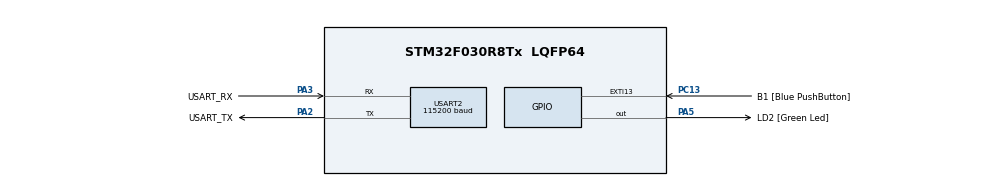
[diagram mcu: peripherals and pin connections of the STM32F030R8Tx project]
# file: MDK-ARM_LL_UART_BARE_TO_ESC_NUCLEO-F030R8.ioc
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Mcu.Family=STM32F0
Mcu.Name=STM32F030R8Tx
Mcu.Package=LQFP64
NVIC.USART2_IRQn=true\:0\:0\:false\:false\:true\:true\:true
PA13.GPIO_Label=TMS
PA13.Mode=Serial_Wire
PA13.Signal=SYS_SWDIO
PA14.GPIO_Label=TCK
PA14.Mode=Serial_Wire
PA14.Signal=SYS_SWCLK
PA2.GPIO_Label=USART_TX
PA2.GPIO_Mode=GPIO_MODE_AF_PP
PA2.GPIO_PuPd=GPIO_NOPULL
PA2.GPIO_Speed=GPIO_SPEED_FREQ_LOW
PA2.Mode=Asynchronous
PA2.Signal=USART2_TX
PA3.GPIO_Label=USART_RX
PA3.GPIO_Mode=GPIO_MODE_AF_PP
PA3.GPIO_PuPd=GPIO_NOPULL
PA3.GPIO_Speed=GPIO_SPEED_FREQ_LOW
PA3.Mode=Asynchronous
PA3.Signal=USART2_RX
PA5.GPIO_Label=LD2 [Green Led]
PA5.GPIO_Mode=GPIO_MODE_OUTPUT_PP
PA5.GPIO_PuPd=GPIO_NOPULL
PA5.GPIO_Speed=GPIO_SPEED_FREQ_LOW
PA5.Signal=GPIO_Output
PC13.GPIO_Label=B1 [Blue PushButton]
PC13.GPIO_ModeDefaultEXTI=GPIO_MODE_IT_FALLING
PC13.Signal=GPXTI13
PC14-OSC32_IN.Mode=LSE-External-Oscillator
PC14-OSC32_IN.Signal=RCC_OSC32_IN
PC15-OSC32_OUT.Mode=LSE-External-Oscillator
PC15-OSC32_OUT.Signal=RCC_OSC32_OUT
PF0-OSC_IN.Mode=HSE-External-Clock-Source
PF0-OSC_IN.Signal=RCC_OSC_IN
PF1-OSC_OUT.Signal=RCC_OSC_OUT
ProjectManager.HeapSize=0x200
ProjectManager.StackSize=0x400
ProjectManager.TargetToolchain=MDK-ARM V5.27
RCC.AHBFreq_Value=48000000
RCC.APB1Freq_Value=48000000
RCC.APB1TimFreq_Value=48000000
RCC.HCLKFreq_Value=48000000
RCC.PLLMUL=RCC_PLL_MUL12
RCC.SYSCLKFreq_VALUE=48000000
RCC.SYSCLKSource=RCC_SYSCLKSOURCE_PLLCLK
USART2.BaudRate=115200
USART2.VirtualMode-Asynchronous=VM_ASYNC
board=NUCLEO-F030R8

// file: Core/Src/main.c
/* USER CODE BEGIN Header */
/**
  ******************************************************************************
  * @file           : main.c
  * @brief          : Main program body
  ******************************************************************************
  * @attention
  *
  * <h2><center>&copy; Copyright (c) 2020 STMicroelectronics.
  * All rights reserved.</center></h2>
  *
  * This software component is licensed by ST under BSD 3-Clause license,
  * the "License"; You may not use this file except in compliance with the
  * License. You may obtain a copy of the License at:
  *                        opensource.org/licenses/BSD-3-Clause
  *
  ******************************************************************************
  */
/* USER CODE END Header */
#include "main.h"

/* USER CODE BEGIN Includes */
#include "trice.h"
#include "triceInterfaceUART.h"
#include "triceBareFifo.h"
#include "triceBareFifoToEscFifo.h"
/* USER CODE END Includes */

/* USER CODE BEGIN PV */
int milliSecond = 0;
/* USER CODE END PV */

void SystemClock_Config(void);
static void MX_GPIO_Init(void);
static void MX_USART2_UART_Init(void);

int main(void)
{
  /* USER CODE BEGIN 1 */
#ifdef ENCRYPT
    InitXteaTable();
#endif
  /* USER CODE END 1 */

  /* MCU Configuration--------------------------------------------------------*/

  /* Reset of all peripherals, Initializes the Flash interface and the Systick. */

  LL_APB1_GRP2_EnableClock(LL_APB1_GRP2_PERIPH_SYSCFG);
  LL_APB1_GRP1_EnableClock(LL_APB1_GRP1_PERIPH_PWR);

  /* System interrupt init*/

  /* Configure the system clock */
  SystemClock_Config();

  /* USER CODE BEGIN SysInit */
    SysTick->CTRL |= SysTick_CTRL_TICKINT_Msk; // enable SysTick interrupt
  /* USER CODE END SysInit */

  /* Initialize all configured peripherals */
  MX_GPIO_Init();
  MX_USART2_UART_Init();
  /* USER CODE BEGIN 2 */
  LL_USART_EnableIT_RXNE(TRICE_UART); // enable UART2 interrupt
    TRICE0( Id(37259), "s:                                        \ns:   ARM-MDK_LL_UART_BARE_TO_ESC_NUCLEO-F030R8   \ns:                                        \n\n");
  /* USER CODE END 2 */

  /* Infinite loop */
  /* USER CODE BEGIN WHILE */
  while (1)
  {
        static int lastTricesTime = 0;
      { // every few milliseconds
            if( milliSecond >= lastTricesTime + 1000 ){
                static int index = 0;
                TRICE16_2( Id(38143),"MSG: triceFifoMaxDepth: Bare = %d, Esc = %d\n", triceBareFifoMaxDepth, triceEscFifoMaxDepth );
                triceCheckSet(index%10);
                index++;
                lastTricesTime = milliSecond;
          }
      }
    /* USER CODE END WHILE */

    /* USER CODE BEGIN 3 */
        { // check every few milliseconds
            static int lastMs = 0;
            if( milliSecond >= lastMs + 1 ){
                lastMs = milliSecond;
                triceServeBareFifoToEscFifo();
            }
        }
  }
  /* USER CODE END 3 */
}

void SystemClock_Config(void)
{
  LL_FLASH_SetLatency(LL_FLASH_LATENCY_1);
  while(LL_FLASH_GetLatency() != LL_FLASH_LATENCY_1)
  {
  }
  LL_RCC_HSI_Enable();

   /* Wait till HSI is ready */
  while(LL_RCC_HSI_IsReady() != 1)
  {

  }
  LL_RCC_HSI_SetCalibTrimming(16);
  LL_RCC_PLL_ConfigDomain_SYS(LL_RCC_PLLSOURCE_HSI_DIV_2, LL_RCC_PLL_MUL_12);
  LL_RCC_PLL_Enable();

   /* Wait till PLL is ready */
  while(LL_RCC_PLL_IsReady() != 1)
  {

  }
  LL_RCC_SetAHBPrescaler(LL_RCC_SYSCLK_DIV_1);
  LL_RCC_SetAPB1Prescaler(LL_RCC_APB1_DIV_1);
  LL_RCC_SetSysClkSource(LL_RCC_SYS_CLKSOURCE_PLL);

   /* Wait till System clock is ready */
  while(LL_RCC_GetSysClkSource() != LL_RCC_SYS_CLKSOURCE_STATUS_PLL)
  {

  }
  LL_Init1msTick(48000000);
  LL_SetSystemCoreClock(48000000);
}

static void MX_USART2_UART_Init(void)
{

  LL_USART_InitTypeDef USART_InitStruct = {0};

  LL_GPIO_InitTypeDef GPIO_InitStruct = {0};

  /* Peripheral clock enable */
  LL_APB1_GRP1_EnableClock(LL_APB1_GRP1_PERIPH_USART2);

  LL_AHB1_GRP1_EnableClock(LL_AHB1_GRP1_PERIPH_GPIOA);
  /**USART2 GPIO Configuration
  PA2   ------> USART2_TX
  PA3   ------> USART2_RX
  */
  GPIO_InitStruct.Pin = USART_TX_Pin;
  GPIO_InitStruct.Mode = LL_GPIO_MODE_ALTERNATE;
  GPIO_InitStruct.Speed = LL_GPIO_SPEED_FREQ_LOW;
  GPIO_InitStruct.OutputType = LL_GPIO_OUTPUT_PUSHPULL;
  GPIO_InitStruct.Pull = LL_GPIO_PULL_NO;
  GPIO_InitStruct.Alternate = LL_GPIO_AF_1;
  LL_GPIO_Init(USART_TX_GPIO_Port, &GPIO_InitStruct);

  GPIO_InitStruct.Pin = USART_RX_Pin;
  GPIO_InitStruct.Mode = LL_GPIO_MODE_ALTERNATE;
  GPIO_InitStruct.Speed = LL_GPIO_SPEED_FREQ_LOW;
  GPIO_InitStruct.OutputType = LL_GPIO_OUTPUT_PUSHPULL;
  GPIO_InitStruct.Pull = LL_GPIO_PULL_NO;
  GPIO_InitStruct.Alternate = LL_GPIO_AF_1;
  LL_GPIO_Init(USART_RX_GPIO_Port, &GPIO_InitStruct);

  /* USART2 interrupt Init */
  NVIC_SetPriority(USART2_IRQn, 0);
  NVIC_EnableIRQ(USART2_IRQn);

  USART_InitStruct.BaudRate = 115200;
  USART_InitStruct.DataWidth = LL_USART_DATAWIDTH_8B;
  USART_InitStruct.StopBits = LL_USART_STOPBITS_1;
  USART_InitStruct.Parity = LL_USART_PARITY_NONE;
  USART_InitStruct.TransferDirection = LL_USART_DIRECTION_TX_RX;
  USART_InitStruct.HardwareFlowControl = LL_USART_HWCONTROL_NONE;
  USART_InitStruct.OverSampling = LL_USART_OVERSAMPLING_16;
  LL_USART_Init(USART2, &USART_InitStruct);
  LL_USART_DisableIT_CTS(USART2);
  LL_USART_ConfigAsyncMode(USART2);
  LL_USART_Enable(USART2);

}

static void MX_GPIO_Init(void)
{
  LL_EXTI_InitTypeDef EXTI_InitStruct = {0};
  LL_GPIO_InitTypeDef GPIO_InitStruct = {0};

  /* GPIO Ports Clock Enable */
  LL_AHB1_GRP1_EnableClock(LL_AHB1_GRP1_PERIPH_GPIOC);
  LL_AHB1_GRP1_EnableClock(LL_AHB1_GRP1_PERIPH_GPIOF);
  LL_AHB1_GRP1_EnableClock(LL_AHB1_GRP1_PERIPH_GPIOA);

  /**/
  LL_GPIO_ResetOutputPin(LD2_GPIO_Port, LD2_Pin);

  /**/
  LL_SYSCFG_SetEXTISource(LL_SYSCFG_EXTI_PORTC, LL_SYSCFG_EXTI_LINE13);

  /**/
  LL_GPIO_SetPinPull(B1_GPIO_Port, B1_Pin, LL_GPIO_PULL_NO);

  /**/
  LL_GPIO_SetPinMode(B1_GPIO_Port, B1_Pin, LL_GPIO_MODE_INPUT);

  /**/
  EXTI_InitStruct.Line_0_31 = LL_EXTI_LINE_13;
  EXTI_InitStruct.LineCommand = ENABLE;
  EXTI_InitStruct.Mode = LL_EXTI_MODE_IT;
  EXTI_InitStruct.Trigger = LL_EXTI_TRIGGER_FALLING;
  LL_EXTI_Init(&EXTI_InitStruct);

  /**/
  GPIO_InitStruct.Pin = LD2_Pin;
  GPIO_InitStruct.Mode = LL_GPIO_MODE_OUTPUT;
  GPIO_InitStruct.Speed = LL_GPIO_SPEED_FREQ_LOW;
  GPIO_InitStruct.OutputType = LL_GPIO_OUTPUT_PUSHPULL;
  GPIO_InitStruct.Pull = LL_GPIO_PULL_NO;
  LL_GPIO_Init(LD2_GPIO_Port, &GPIO_InitStruct);

}

void Error_Handler(void)
{
}

/************************ (C) COPYRIGHT STMicroelectronics *****END OF FILE****/
